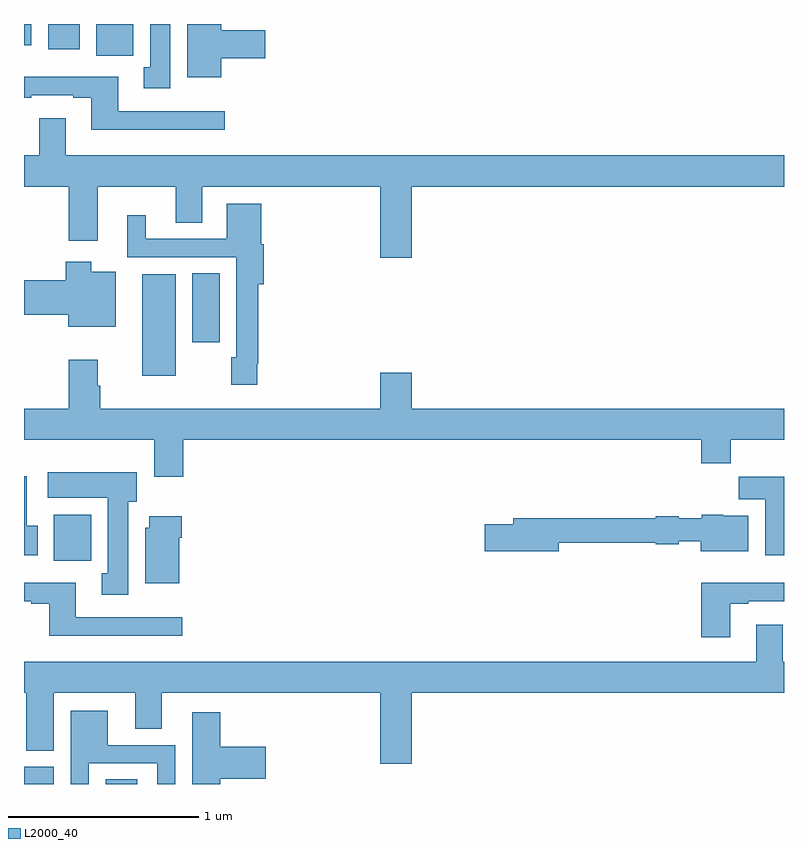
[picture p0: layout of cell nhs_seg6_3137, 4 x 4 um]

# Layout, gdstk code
import gdstk
lib = gdstk.Library(unit=1e-6, precision=1e-09)
def R(c, l, rs):  # rectangles x0, y0, x1, y1
    for r in rs: c.add(gdstk.rectangle(r[:2], r[2:], *l))
def P(c, l, *ps):  # polygons
    for p in ps: c.add(gdstk.Polygon(p, *l))
L2000_40 = (2000, 40)

nhs_seg6_3137 = lib.new_cell('nhs_seg6_3137')
R(nhs_seg6_3137, L2000_40, [(295,969.5,295.156,969.591), (295.43,969.5,295.597,969.524), (295.157,970.676,295.354,970.918), (295.622,971.648,295.798,972.184), (295.886,971.826,296.029,972.188), (295.379,973.332,295.575,973.5), (295.127,973.368,295.294,973.5), (295,973.388,295.039,973.5)])
P(nhs_seg6_3137, L2000_40, [(295.771,973.5),(295.664,973.5),(295.664,973.273),(295.631,973.273),(295.631,973.161),(295.771,973.161)],
  [(296.038,973.319),(296.269,973.319),(296.269,973.466),(296.038,973.466),(296.038,973.5),(295.859,973.5),(295.859,973.22),(296.038,973.22)],
  [(296.056,973.041),(295.495,973.041),(295.495,973.222),(295,973.222),(295,973.113),(295.039,973.113),(295.039,973.125),(295.259,973.125),(295.259,973.113),(295.355,973.113),(295.355,972.944),(296.056,972.944)],
  [(297.04,972.644),(299,972.644),(299,972.808),(295.219,972.808),(295.219,973.003),(295.079,973.003),(295.079,972.808),(295,972.808),(295,972.644),(295.235,972.644),(295.235,972.36),(295.387,972.36),(295.387,972.644),(295.799,972.644),(295.799,972.454),(295.939,972.454),(295.939,972.644),(296.876,972.644),(296.876,972.27),(297.04,972.27)],
  [(296.227,971.713),(296.234,971.713),(296.234,972.131),(296.261,972.131),(296.261,972.342),(296.248,972.342),(296.248,972.553),(296.066,972.553),(296.066,972.369),(295.642,972.369),(295.642,972.493),(295.544,972.493),(295.544,972.273),(296.118,972.273),(296.118,971.745),(296.092,971.745),(296.092,971.601),(296.227,971.601)],
  [(295.483,972.196),(295.354,972.196),(295.354,972.25),(295.22,972.25),(295.22,972.152),(295.002,972.152),(295.002,971.969),(295.232,971.969),(295.232,971.906),(295.483,971.906)],
  [(295.838,971.312),(298.565,971.312),(298.565,971.188),(298.721,971.188),(298.721,971.312),(299,971.312),(299,971.476),(297.04,971.476),(297.04,971.665),(296.876,971.665),(296.876,971.476),(295.4,971.476),(295.4,971.597),(295.387,971.597),(295.387,971.734),(295.235,971.734),(295.235,971.476),(295,971.476),(295,971.312),(295.685,971.312),(295.685,971.118),(295.838,971.118)],
  [(295.549,970.986),(295.594,970.986),(295.594,971.14),(295.125,971.14),(295.125,971.006),(295.442,971.006),(295.442,970.61),(295.409,970.61),(295.409,970.497),(295.549,970.497)],
  [(295.072,970.86),(295.015,970.86),(295.015,971.119),(295,971.119),(295,970.704),(295.072,970.704)],
  [(299,971.118),(298.762,971.118),(298.762,971),(298.901,971),(298.901,970.704),(299,970.704)],
  [(297.814,970.771),(298.326,970.771),(298.326,970.763),(298.446,970.763),(298.446,970.778),(298.562,970.778),(298.562,970.724),(298.813,970.724),(298.813,970.912),(298.68,970.912),(298.68,970.918),(298.566,970.918),(298.566,970.9),(298.446,970.9),(298.446,970.908),(298.326,970.908),(298.326,970.9),(297.575,970.9),(297.575,970.866),(297.426,970.866),(297.426,970.724),(297.814,970.724)],
  [(295.816,970.796),(295.829,970.796),(295.829,970.909),(295.658,970.909),(295.658,970.848),(295.637,970.848),(295.637,970.556),(295.816,970.556)],
  [(295.834,970.377),(295.273,970.377),(295.273,970.558),(295,970.558),(295,970.461),(295.037,970.461),(295.037,970.449),(295.133,970.449),(295.133,970.28),(295.834,970.28)],
  [(298.717,970.449),(298.813,970.449),(298.813,970.461),(299,970.461),(299,970.558),(298.565,970.558),(298.565,970.272),(298.717,970.272)],
  [(297.04,969.98),(299,969.98),(299,970.144),(298.993,970.144),(298.993,970.339),(298.853,970.339),(298.853,970.144),(295,970.144),(295,969.98),(295.013,969.98),(295.013,969.676),(295.156,969.676),(295.156,969.98),(295.586,969.98),(295.586,969.79),(295.726,969.79),(295.726,969.98),(296.876,969.98),(296.876,969.606),(297.04,969.606)],
  [(295.341,969.609),(295.701,969.609),(295.701,969.5),(295.797,969.5),(295.797,969.705),(295.441,969.705),(295.441,969.886),(295.245,969.886),(295.245,969.5),(295.341,969.5)],
  [(296.033,969.527),(296.272,969.527),(296.272,969.697),(296.033,969.697),(296.033,969.877),(295.886,969.877),(295.886,969.5),(296.033,969.5)])

lib.write_gds('nhs_seg6_3137.gds')
